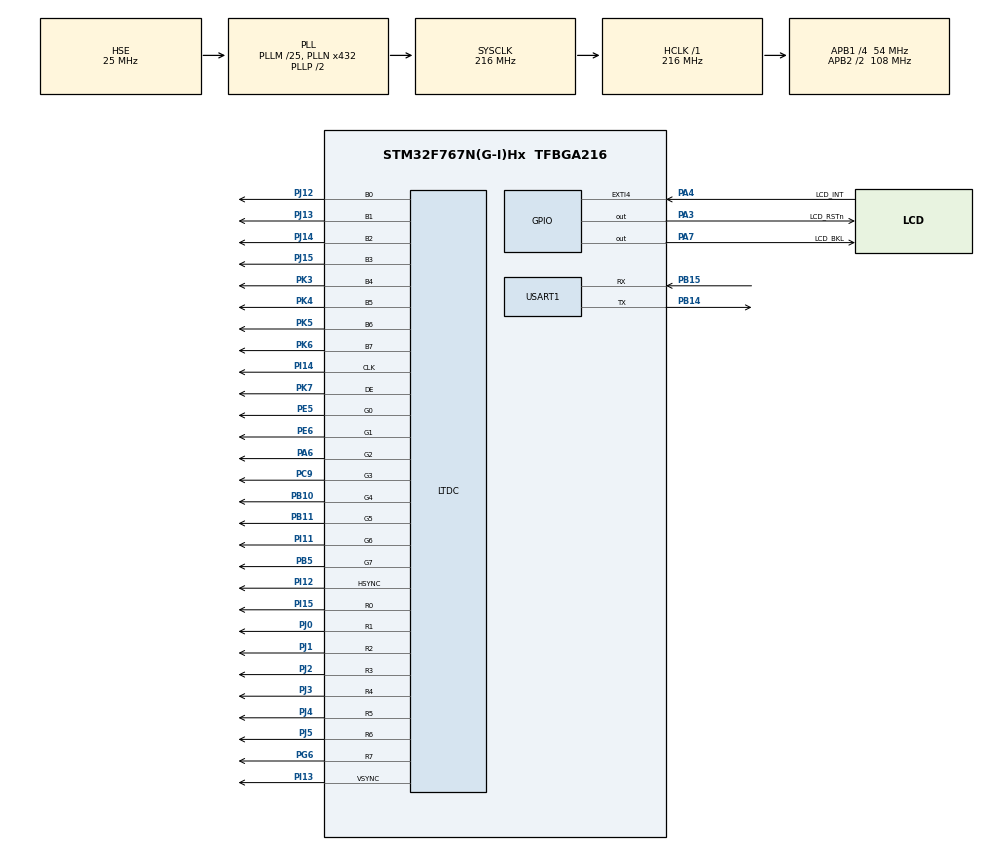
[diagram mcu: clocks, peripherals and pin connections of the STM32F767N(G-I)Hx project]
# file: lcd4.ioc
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CORTEX_M7.CPU_DCache=Enabled
CORTEX_M7.CPU_ICache=Enabled
CORTEX_M7.PREFETCH_ENABLE=1
LTDC.ActiveW=480
LTDC.Alpha_L0=255
LTDC.DEPolarity=LTDC_DEPOLARITY_AL
LTDC.FBStartAdress_L0=0xC0000000
LTDC.HBP=7
LTDC.HFP=7
LTDC.HSPolarity=LTDC_HSPOLARITY_AL
LTDC.HSync=7
LTDC.ImageHeight_L0=480
LTDC.ImageWidth_L0=480
LTDC.Layers=0
LTDC.PixelFormat_L0=LTDC_PIXEL_FORMAT_RGB565
LTDC.Red_L0=0
LTDC.VBP=7
LTDC.VFP=7
LTDC.VSPolarity=LTDC_VSPOLARITY_AL
LTDC.VSync=7
LTDC.WindowX1_L0=480
LTDC.WindowY1_L0=480
Mcu.Family=STM32F7
Mcu.Name=STM32F767N(G-I)Hx
Mcu.Package=TFBGA216
NVIC.LTDC_IRQn=true\:0\:0\:false\:false\:true\:true\:true\:true
NVIC.PriorityGroup=NVIC_PRIORITYGROUP_4
PA13.Mode=Serial_Wire
PA13.Signal=SYS_JTMS-SWDIO
PA14.Mode=Serial_Wire
PA14.Signal=SYS_JTCK-SWCLK
PA3.GPIO_Label=LCD_RSTn
PA3.PinState=GPIO_PIN_RESET
PA3.Signal=GPIO_Output
PA4.GPIO_Label=LCD_INT
PA4.Signal=GPXTI4
PA6.Mode=RGB888
PA6.Signal=LTDC_G2
PA7.GPIO_Label=LCD_BKL
PA7.PinState=GPIO_PIN_SET
PA7.Signal=GPIO_Output
PB10.Mode=RGB888
PB10.Signal=LTDC_G4
PB11.Mode=RGB888
PB11.Signal=LTDC_G5
PB14.Mode=Asynchronous
PB14.Signal=USART1_TX
PB15.Mode=Asynchronous
PB15.Signal=USART1_RX
PB5.Mode=RGB888
PB5.Signal=LTDC_G7
PC9.Mode=RGB888
PC9.Signal=LTDC_G3
PE5.Mode=RGB888
PE5.Signal=LTDC_G0
PE6.Mode=RGB888
PE6.Signal=LTDC_G1
PG6.Mode=RGB888
PG6.Signal=LTDC_R7
PH0/OSC_IN.Mode=HSE-External-Oscillator
PH0/OSC_IN.Signal=RCC_OSC_IN
PH1/OSC_OUT.Mode=HSE-External-Oscillator
PH1/OSC_OUT.Signal=RCC_OSC_OUT
PI11.Mode=RGB888
PI11.Signal=LTDC_G6
PI12.Mode=RGB888
PI12.Signal=LTDC_HSYNC
PI13.Mode=RGB888
PI13.Signal=LTDC_VSYNC
PI14.Mode=RGB888
PI14.Signal=LTDC_CLK
PI15.Mode=RGB888
PI15.Signal=LTDC_R0
PJ0.Mode=RGB888
PJ0.Signal=LTDC_R1
PJ1.Mode=RGB888
PJ1.Signal=LTDC_R2
PJ12.Mode=RGB888
PJ12.Signal=LTDC_B0
PJ13.Mode=RGB888
PJ13.Signal=LTDC_B1
PJ14.Mode=RGB888
PJ14.Signal=LTDC_B2
PJ15.Mode=RGB888
PJ15.Signal=LTDC_B3
PJ2.Mode=RGB888
PJ2.Signal=LTDC_R3
PJ3.Mode=RGB888
PJ3.Signal=LTDC_R4
PJ4.Mode=RGB888
PJ4.Signal=LTDC_R5
PJ5.Mode=RGB888
PJ5.Signal=LTDC_R6
PK3.Mode=RGB888
PK3.Signal=LTDC_B4
PK4.Mode=RGB888
PK4.Signal=LTDC_B5
PK5.Mode=RGB888
PK5.Signal=LTDC_B6
PK6.Mode=RGB888
PK6.Signal=LTDC_B7
PK7.Mode=RGB888
PK7.Signal=LTDC_DE
ProjectManager.HeapSize=0x200
ProjectManager.StackSize=0x400
ProjectManager.TargetToolchain=STM32CubeIDE
RCC.AHBFreq_Value=216000000
RCC.APB1CLKDivider=RCC_HCLK_DIV4
RCC.APB1Freq_Value=54000000
RCC.APB1TimFreq_Value=108000000
RCC.APB2CLKDivider=RCC_HCLK_DIV2
RCC.APB2Freq_Value=108000000
RCC.APB2TimFreq_Value=216000000
RCC.CortexFreq_Value=216000000
RCC.HCLKFreq_Value=216000000
RCC.HSE_VALUE=25000000
RCC.HSI_VALUE=16000000
RCC.LSE_VALUE=32768
RCC.PLLM=25
RCC.PLLN=432
RCC.PLLSAIN=240
RCC.PLLSAIR=4
RCC.PLLSAIRDiv=RCC_PLLSAIDIVR_4
RCC.PLLSourceVirtual=RCC_PLLSOURCE_HSE
RCC.SYSCLKFreq_VALUE=216000000
RCC.SYSCLKSource=RCC_SYSCLKSOURCE_PLLCLK
RCC.USBFreq_Value=216000000
RCC.VCOOutputFreq_Value=432000000
USART1.VirtualMode-Asynchronous=VM_ASYNC
board=custom

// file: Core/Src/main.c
/* USER CODE BEGIN Header */
/**
  ******************************************************************************
  * @file           : main.c
  * @brief          : Main program body
  ******************************************************************************
  * @attention
  *
  * Copyright (c) 2023 STMicroelectronics.
  * All rights reserved.
  *
  * This software is licensed under terms that can be found in the LICENSE file
  * in the root directory of this software component.
  * If no LICENSE file comes with this software, it is provided AS-IS.
  *
  ******************************************************************************
  */
/* USER CODE END Header */
#include "main.h"

/* USER CODE BEGIN Includes */
#include <stdio.h>
//#include "image_kitten_800x480.h"
#include "image_kitten_480x480.h"

/* USER CODE END Includes */

LTDC_HandleTypeDef hltdc;

UART_HandleTypeDef huart1;

void SystemClock_Config(void);
static void MX_GPIO_Init(void);
static void MX_USART1_UART_Init(void);
static void MX_LTDC_Init(void);

/* USER CODE BEGIN 0 */
int __io_putchar(int ch)
{
    const char crnf[2] = "\r\n";

    switch(ch)
    {
    case '\r':
        break;
    case '\n':
        HAL_UART_Transmit(&huart1, (uint8_t *)crnf, 2, 0xFFFF);
        break;
    default:
        HAL_UART_Transmit(&huart1, (uint8_t *)&ch, 1, 0xFFFF);
        break;
    }

    return ch;
}

/* USER CODE END 0 */

int main(void)
{
/* Enable the CPU Cache */

  /* Enable I-Cache---------------------------------------------------------*/
  SCB_EnableICache();

  /* Enable D-Cache---------------------------------------------------------*/
  SCB_EnableDCache();

  /* MCU Configuration--------------------------------------------------------*/

  /* Reset of all peripherals, Initializes the Flash interface and the Systick. */
  HAL_Init();

  /* Configure the system clock */
  SystemClock_Config();

  /* Initialize all configured peripherals */
  MX_GPIO_Init();
  MX_USART1_UART_Init();
  MX_LTDC_Init();

  /* Infinite loop */
  /* USER CODE BEGIN WHILE */
  uint32_t cnt = 0;
  while (1)
  {
    /* USER CODE END WHILE */

    /* USER CODE BEGIN 3 */
    printf("[%06ld] LCD4-767G\n", cnt++);
    HAL_Delay(1000);
  }
  /* USER CODE END 3 */
}

void SystemClock_Config(void)
{
  RCC_OscInitTypeDef RCC_OscInitStruct = {0};
  RCC_ClkInitTypeDef RCC_ClkInitStruct = {0};

  /** Configure the main internal regulator output voltage
  */
  __HAL_RCC_PWR_CLK_ENABLE();
  __HAL_PWR_VOLTAGESCALING_CONFIG(PWR_REGULATOR_VOLTAGE_SCALE1);

  /** Initializes the RCC Oscillators according to the specified parameters
  * in the RCC_OscInitTypeDef structure.
  */
  RCC_OscInitStruct.OscillatorType = RCC_OSCILLATORTYPE_HSE;
  RCC_OscInitStruct.HSEState = RCC_HSE_ON;
  RCC_OscInitStruct.PLL.PLLState = RCC_PLL_ON;
  RCC_OscInitStruct.PLL.PLLSource = RCC_PLLSOURCE_HSE;
  RCC_OscInitStruct.PLL.PLLM = 25;
  RCC_OscInitStruct.PLL.PLLN = 432;
  RCC_OscInitStruct.PLL.PLLP = RCC_PLLP_DIV2;
  RCC_OscInitStruct.PLL.PLLQ = 2;
  RCC_OscInitStruct.PLL.PLLR = 2;
  if (HAL_RCC_OscConfig(&RCC_OscInitStruct) != HAL_OK)
  {
    Error_Handler();
  }

  /** Activate the Over-Drive mode
  */
  if (HAL_PWREx_EnableOverDrive() != HAL_OK)
  {
    Error_Handler();
  }

  /** Initializes the CPU, AHB and APB buses clocks
  */
  RCC_ClkInitStruct.ClockType = RCC_CLOCKTYPE_HCLK|RCC_CLOCKTYPE_SYSCLK
                              |RCC_CLOCKTYPE_PCLK1|RCC_CLOCKTYPE_PCLK2;
  RCC_ClkInitStruct.SYSCLKSource = RCC_SYSCLKSOURCE_PLLCLK;
  RCC_ClkInitStruct.AHBCLKDivider = RCC_SYSCLK_DIV1;
  RCC_ClkInitStruct.APB1CLKDivider = RCC_HCLK_DIV4;
  RCC_ClkInitStruct.APB2CLKDivider = RCC_HCLK_DIV2;

  if (HAL_RCC_ClockConfig(&RCC_ClkInitStruct, FLASH_LATENCY_7) != HAL_OK)
  {
    Error_Handler();
  }
}

static void MX_LTDC_Init(void)
{

  /* USER CODE BEGIN LTDC_Init 0 */
    HAL_GPIO_WritePin(LCD_RSTn_GPIO_Port, LCD_RSTn_Pin, GPIO_PIN_RESET);
    HAL_Delay(10);
    HAL_GPIO_WritePin(LCD_RSTn_GPIO_Port, LCD_RSTn_Pin, GPIO_PIN_SET);

  /* USER CODE END LTDC_Init 0 */

  LTDC_LayerCfgTypeDef pLayerCfg = {0};

  hltdc.Instance = LTDC;
  hltdc.Init.HSPolarity = LTDC_HSPOLARITY_AL;
  hltdc.Init.VSPolarity = LTDC_VSPOLARITY_AL;
  hltdc.Init.DEPolarity = LTDC_DEPOLARITY_AL;
  hltdc.Init.PCPolarity = LTDC_PCPOLARITY_IPC;
  hltdc.Init.HorizontalSync = 6;
  hltdc.Init.VerticalSync = 6;
  hltdc.Init.AccumulatedHBP = 13;
  hltdc.Init.AccumulatedVBP = 13;
  hltdc.Init.AccumulatedActiveW = 493;
  hltdc.Init.AccumulatedActiveH = 493;
  hltdc.Init.TotalWidth = 500;
  hltdc.Init.TotalHeigh = 500;
  hltdc.Init.Backcolor.Blue = 0;
  hltdc.Init.Backcolor.Green = 0;
  hltdc.Init.Backcolor.Red = 0;
  if (HAL_LTDC_Init(&hltdc) != HAL_OK)
  {
    Error_Handler();
  }
  pLayerCfg.WindowX0 = 0;
  pLayerCfg.WindowX1 = 480;
  pLayerCfg.WindowY0 = 0;
  pLayerCfg.WindowY1 = 480;
  pLayerCfg.PixelFormat = LTDC_PIXEL_FORMAT_RGB565;
  pLayerCfg.Alpha = 255;
  pLayerCfg.Alpha0 = 0;
  pLayerCfg.BlendingFactor1 = LTDC_BLENDING_FACTOR1_CA;
  pLayerCfg.BlendingFactor2 = LTDC_BLENDING_FACTOR2_CA;
  pLayerCfg.FBStartAdress = 0xC0000000;
  pLayerCfg.ImageWidth = 480;
  pLayerCfg.ImageHeight = 480;
  pLayerCfg.Backcolor.Blue = 0;
  pLayerCfg.Backcolor.Green = 0;
  pLayerCfg.Backcolor.Red = 0;
  if (HAL_LTDC_ConfigLayer(&hltdc, &pLayerCfg, 0) != HAL_OK)
  {
    Error_Handler();
  }
  /* USER CODE BEGIN LTDC_Init 2 */
  pLayerCfg.FBStartAdress = (uint32_t)((uint32_t*)image_kitten_480x480);
  HAL_LTDC_ConfigLayer(&hltdc, &pLayerCfg, 0);
  /* USER CODE END LTDC_Init 2 */

}

static void MX_USART1_UART_Init(void)
{

  huart1.Instance = USART1;
  huart1.Init.BaudRate = 115200;
  huart1.Init.WordLength = UART_WORDLENGTH_8B;
  huart1.Init.StopBits = UART_STOPBITS_1;
  huart1.Init.Parity = UART_PARITY_NONE;
  huart1.Init.Mode = UART_MODE_TX_RX;
  huart1.Init.HwFlowCtl = UART_HWCONTROL_NONE;
  huart1.Init.OverSampling = UART_OVERSAMPLING_16;
  huart1.Init.OneBitSampling = UART_ONE_BIT_SAMPLE_DISABLE;
  huart1.AdvancedInit.AdvFeatureInit = UART_ADVFEATURE_NO_INIT;
  if (HAL_UART_Init(&huart1) != HAL_OK)
  {
    Error_Handler();
  }

}

static void MX_GPIO_Init(void)
{
  GPIO_InitTypeDef GPIO_InitStruct = {0};

  /* GPIO Ports Clock Enable */
  __HAL_RCC_GPIOB_CLK_ENABLE();
  __HAL_RCC_GPIOA_CLK_ENABLE();
  __HAL_RCC_GPIOE_CLK_ENABLE();
  __HAL_RCC_GPIOJ_CLK_ENABLE();
  __HAL_RCC_GPIOK_CLK_ENABLE();
  __HAL_RCC_GPIOI_CLK_ENABLE();
  __HAL_RCC_GPIOC_CLK_ENABLE();
  __HAL_RCC_GPIOH_CLK_ENABLE();
  __HAL_RCC_GPIOG_CLK_ENABLE();

  /*Configure GPIO pin Output Level */
  HAL_GPIO_WritePin(LCD_RSTn_GPIO_Port, LCD_RSTn_Pin, GPIO_PIN_RESET);

  /*Configure GPIO pin Output Level */
  HAL_GPIO_WritePin(LCD_BKL_GPIO_Port, LCD_BKL_Pin, GPIO_PIN_SET);

  /*Configure GPIO pin : LCD_INT_Pin */
  GPIO_InitStruct.Pin = LCD_INT_Pin;
  GPIO_InitStruct.Mode = GPIO_MODE_IT_RISING;
  GPIO_InitStruct.Pull = GPIO_NOPULL;
  HAL_GPIO_Init(LCD_INT_GPIO_Port, &GPIO_InitStruct);

  /*Configure GPIO pins : LCD_RSTn_Pin LCD_BKL_Pin */
  GPIO_InitStruct.Pin = LCD_RSTn_Pin|LCD_BKL_Pin;
  GPIO_InitStruct.Mode = GPIO_MODE_OUTPUT_PP;
  GPIO_InitStruct.Pull = GPIO_NOPULL;
  GPIO_InitStruct.Speed = GPIO_SPEED_FREQ_LOW;
  HAL_GPIO_Init(GPIOA, &GPIO_InitStruct);

}

void Error_Handler(void)
{
  __disable_irq();
  while (1)
  {
  }
}
